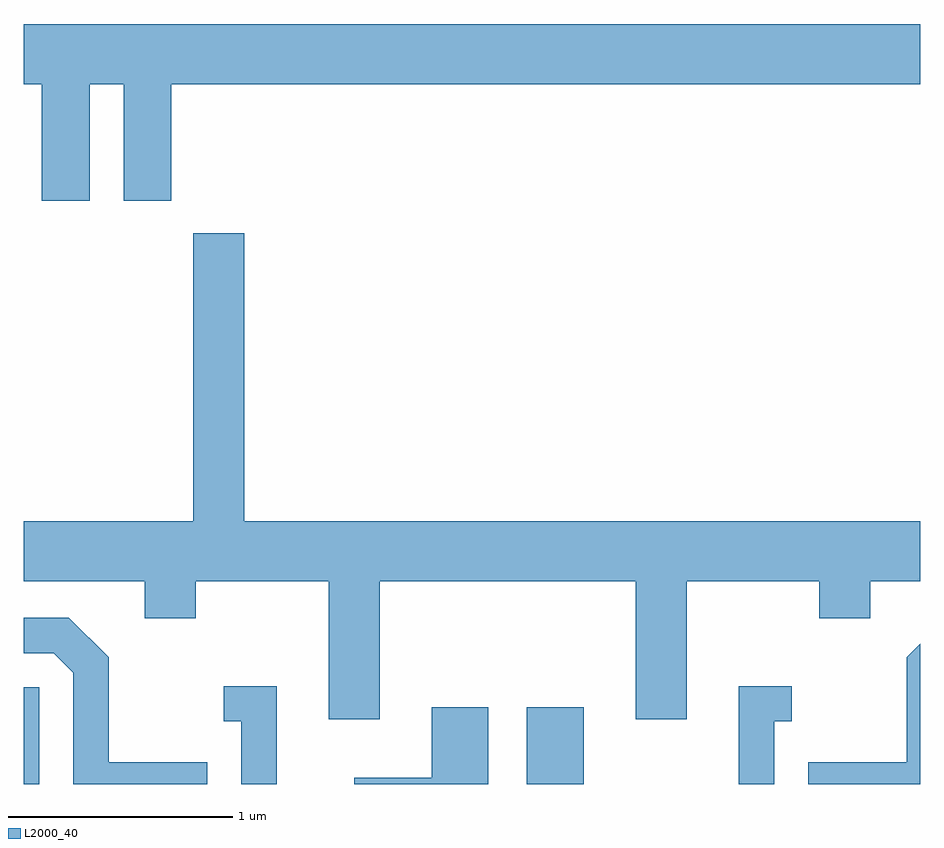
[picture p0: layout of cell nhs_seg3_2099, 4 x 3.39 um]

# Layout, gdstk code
import gdstk
lib = gdstk.Library(unit=1e-6, precision=1e-09)
def R(c, l, rs):  # rectangles x0, y0, x1, y1
    for r in rs: c.add(gdstk.rectangle(r[:2], r[2:], *l))
def P(c, l, *ps):  # polygons
    for p in ps: c.add(gdstk.Polygon(p, *l))
L2000_40 = (2000, 40)

nhs_seg3_2099 = lib.new_cell('nhs_seg3_2099')
R(nhs_seg3_2099, L2000_40, [(245.611,1233.892,245.679,1234.324), (247.856,1233.892,248.109,1234.234)])
P(nhs_seg3_2099, L2000_40, [(245.904,1237.016),(246.056,1237.016),(246.056,1236.496),(246.269,1236.496),(246.269,1237.016),(249.611,1237.016),(249.611,1237.284),(245.611,1237.284),(245.611,1237.016),(245.691,1237.016),(245.691,1236.496),(245.904,1236.496)],
  [(247.199,1234.796),(248.341,1234.796),(248.341,1234.181),(248.569,1234.181),(248.569,1234.796),(249.161,1234.796),(249.161,1234.631),(249.389,1234.631),(249.389,1234.796),(249.611,1234.796),(249.611,1235.064),(246.594,1235.064),(246.594,1236.349),(246.366,1236.349),(246.366,1235.064),(245.611,1235.064),(245.611,1234.796),(246.151,1234.796),(246.151,1234.631),(246.379,1234.631),(246.379,1234.796),(246.971,1234.796),(246.971,1234.181),(247.199,1234.181)],
  [(246.429,1233.989),(245.989,1233.989),(245.989,1234.457),(245.812,1234.634),(245.611,1234.634),(245.611,1234.476),(245.744,1234.476),(245.831,1234.389),(245.831,1233.892),(246.429,1233.892)],
  [(249.611,1234.517),(249.551,1234.457),(249.551,1233.989),(249.111,1233.989),(249.111,1233.892),(249.611,1233.892)],
  [(248.959,1234.171),(249.038,1234.171),(249.038,1234.329),(248.801,1234.329),(248.801,1233.892),(248.959,1233.892)],
  [(246.739,1234.329),(246.503,1234.329),(246.503,1234.171),(246.581,1234.171),(246.581,1233.892),(246.739,1233.892)],
  [(247.684,1234.234),(247.431,1234.234),(247.431,1233.919),(247.086,1233.919),(247.086,1233.892),(247.684,1233.892)])

lib.write_gds('nhs_seg3_2099.gds')
